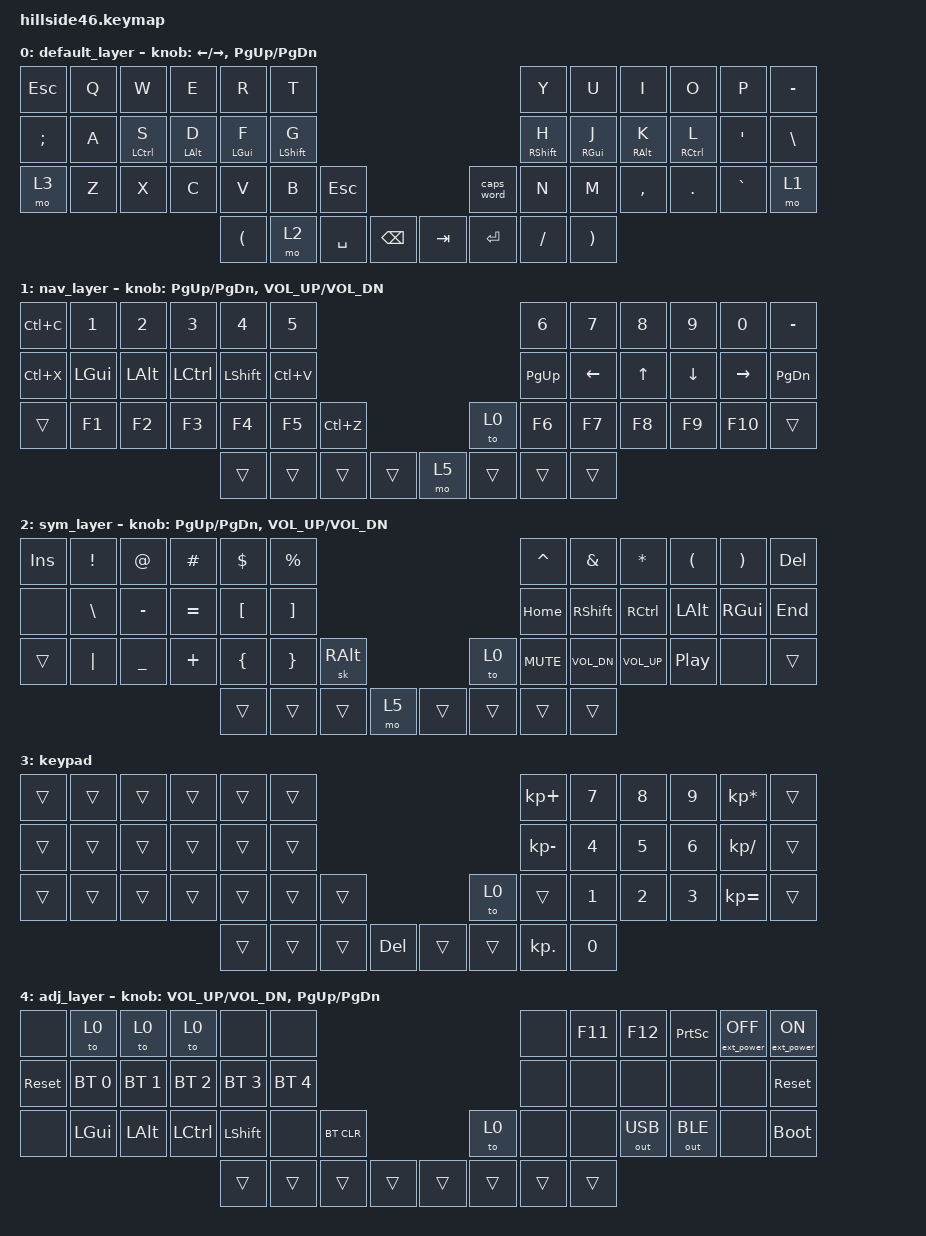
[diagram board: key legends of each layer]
/*
 * Copyright (c) 2021-2022 The ZMK Contributors
 *
 * SPDX-License-Identifier: MIT
 */

#include <behaviors.dtsi>
#include <dt-bindings/zmk/bt.h>
#include <dt-bindings/zmk/ext_power.h>
#include <dt-bindings/zmk/keys.h>
#include <dt-bindings/zmk/outputs.h>

#define QWERTY_L 0
#define DVORAK_L 1
#define COLEMK_L 2
#define NAV_L    3
#define SYM_L    4
#define ADJ_L    5
#define Undo   LC(Z)
#define Cut    LC(X)
#define Copy   LC(C)
#define Paste  LC(V)
#define Redo   LC(Y)

/ {
    behaviors {
        hmr: hmr {
            compatible = "zmk,behavior-hold-tap";
            label = "HMR";
            bindings = <&kp>, <&kp>;

            #binding-cells = <2>;
            flavor = "tap-preferred";
            tapping-term-ms = <200>;
            require-prior-idle-ms = <150>;
            quick-tap-ms = <175>;
            hold-trigger-on-release;
        };
    };

    keymap {
        compatible = "zmk,keymap";

        default_layer {
            /* QWERTY
 * -------------------------------------------------------------------------------------------------------------------------------------
 * | `     |   Q   |   W   |   E   |   R   |   T   |-----------------------------------|   Y   |   U   |   I   |   O   |   P   | BKSPC |
 * | TAB   |   A   |   S   |   D   |   F   |   G   |-----------------------------------|   H   |   J   |   K   |   L   |   ;   | ENTER |
 * | CTRL  |   Z   |   X   |   C   |   V   |   B   |  ESC  |-------------------|  CAPS |   N   |   M   |   ,   |   .   |   /   |   '   |
 *                                 |  GUI  |  ALT  |SK SHFT|  Nav  |---|  Sym  | SPACE |  ALT  |  GUI  |
 */

            bindings = <
&kp ESCAPE     &kp Q  &kp W         &kp E        &kp R                 &kp T                                                          &kp Y         &kp U                  &kp I        &kp O         &kp P             &kp MINUS
&kp SEMICOLON  &kp A  &hmr LCTRL S  &hmr LALT D  &hmr LGUI F           &hmr LSHFT G                                                   &hmr RSHFT H  &hmr RGUI J            &hmr RALT K  &hmr RCTRL L  &kp SINGLE_QUOTE  &kp BSLH
&mo 3          &kp Z  &kp X         &kp C        &kp V                 &kp B         &kp ESC                              &caps_word  &kp N         &kp M                  &kp COMMA    &kp DOT       &kp GRAVE         &mo 1
                                                 &kp LEFT_PARENTHESIS  &mo 2         &kp SPACE  &kp BACKSPACE    &kp TAB  &kp ENTER   &kp SLASH     &kp RIGHT_PARENTHESIS
            >;

            sensor-bindings =
                <&inc_dec_kp LEFT RIGHT>,
                <&inc_dec_kp PG_UP PG_DN>;
        };

        nav_layer {
            /* NAV   
 * -------------------------------------------------------------------------------------------------------------------------------------
 * | Copy  |   1   |   2   |   3   |   4   |   5   |-----------------------------------|   6   |   7   |   8   |   9   |   0   | BSPC  |
 * | Cut   |  GUI  |  Alt  | Ctrl  | Shift | Paste |-----------------------------------| PG UP |  Left |  Up   |  Down | Right | PG DN |
 * | Ctrl  |  F1   |  F2   |  F3   |  F4   |  F5   |  UnDo |-------------------| ReDo  |  F6   |  F7   |  F8   |  F9   |  F10  | Ctrl  |
 *                                 |       |       |       |       |---| ADJ_L |       |       |       |
 */

            bindings = <
&kp Copy  &kp N1    &kp N2    &kp N3     &kp N4     &kp N5                                        &kp N6     &kp N7    &kp N8  &kp N9    &kp N0     &kp MINUS
&kp Cut   &kp LGUI  &kp LALT  &kp LCTRL  &kp LSHFT  &kp Paste                                     &kp PG_UP  &kp LEFT  &kp UP  &kp DOWN  &kp RIGHT  &kp PG_DN
&trans    &kp F1    &kp F2    &kp F3     &kp F4     &kp F5     &kp Undo                   &to 0   &kp F6     &kp F7    &kp F8  &kp F9    &kp F10    &trans
                                         &trans     &trans     &trans    &trans    &mo 5  &trans  &trans     &trans
            >;

            sensor-bindings = <&inc_dec_kp PG_UP PG_DN &inc_dec_kp C_VOL_UP C_VOL_DN>;
        };

        sym_layer {
            /* SYM
 * -------------------------------------------------------------------------------------------------------------------------------------
 * | INS   |   !   |   @   |   #   |   $   |   %   |-----------------------------------|   ^   |   &   |   *   |   (   |   )   | BSPC  |
 * |       |   \   |   -   |   =   |   [   |   ]   |-----------------------------------| HOME  | Shift | Ctrl  | Alt   | Gui   | END   |
 * | Ctrl  |   |   |   _   |   +   |   {   |   }   |SkAltGr|-------------------| MENU  | Mute  | Vol-  | Vol+  | Play  |       | Ctrl  |
 *                                 |       |       |       |  ADJ_L |---|      |       |       |       |
 */

            bindings = <
&kp INS  &kp EXCL  &kp AT     &kp HASH   &kp DOLLAR  &kp PERCENT                                     &kp CARET   &kp AMPS      &kp ASTRK     &kp LPAR  &kp RPAR  &kp DEL
&none    &kp BSLH  &kp MINUS  &kp EQUAL  &kp LBKT    &kp RBKT                                        &kp HOME    &kp RSHFT     &kp RCTRL     &kp LALT  &kp RGUI  &kp END
&trans   &kp PIPE  &kp UNDER  &kp PLUS   &kp LBRC    &kp RBRC     &sk RALT                   &to 0   &kp C_MUTE  &kp C_VOL_DN  &kp C_VOL_UP  &kp C_PP  &none     &trans
                                         &trans      &trans       &trans    &mo 5    &trans  &trans  &trans      &trans
            >;

            sensor-bindings = <&inc_dec_kp PG_UP PG_DN &inc_dec_kp C_VOL_UP C_VOL_DN>;
        };

        keypad {
            bindings = <
&trans  &trans  &trans  &trans  &trans  &trans                                        &kp KP_PLUS   &kp N7  &kp N8  &kp N9  &kp KP_MULTIPLY  &trans
&trans  &trans  &trans  &trans  &trans  &trans                                        &kp KP_MINUS  &kp N4  &kp N5  &kp N6  &kp KP_DIVIDE    &trans
&trans  &trans  &trans  &trans  &trans  &trans  &trans                        &to 0   &trans        &kp N1  &kp N2  &kp N3  &kp KP_EQUAL     &trans
                                &trans  &trans  &trans  &kp DELETE    &trans  &trans  &kp KP_DOT    &kp N0
            >;
        };

        adj_layer {
            /* ADJUST
 * -------------------------------------------------------------------------------------------------------------------------------------
 * |       | QWERTY| DVORAK| COLEMK|       |       |-----------------------------------|       |  F11  |  F12  |Prt Scr|EP_OFF | EP_ON |
 * | RESET | BT 0  | BT 1  | BT 2  | BT 3  | BT 4  |-----------------------------------|       |       |       |       |       | RESET |
 * |       | LGUI  | LALT  | LCTRL | LSHIFT|       |BT CLR |-------------------|       |       |       |OUT_USB|OUT_BLE|       | BOOTL |
 *                                 |       |       |       |       |---|       |       |       |       |
 */

            bindings = <
&none       &to 0         &to 0         &to 0         &none         &none                                               &none   &kp F11  &kp F12       &kp PRINTSCREEN  &ext_power EP_OFF  &ext_power EP_ON
&sys_reset  &bt BT_SEL 0  &bt BT_SEL 1  &bt BT_SEL 2  &bt BT_SEL 3  &bt BT_SEL 4                                        &none   &none    &none         &none            &none              &sys_reset
&none       &kp LGUI      &kp LALT      &kp LCTRL     &kp LSHIFT    &none         &bt BT_CLR                    &to 0   &none   &none    &out OUT_USB  &out OUT_BLE     &none              &bootloader
                                                      &trans        &trans        &trans      &trans    &trans  &trans  &trans  &trans
            >;

            sensor-bindings = <&inc_dec_kp C_VOL_UP C_VOL_DN &inc_dec_kp PG_UP PG_DN>;
        };
    };
};
